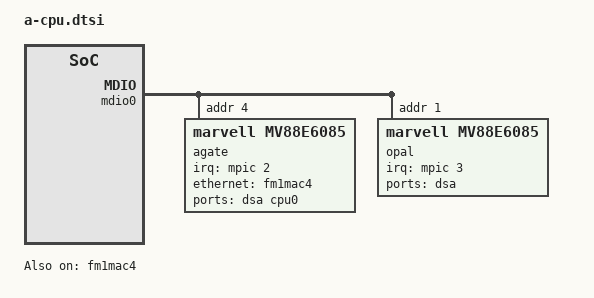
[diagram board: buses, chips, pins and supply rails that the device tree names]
#include <common/mv6.h>

#include "base.dtsi"

&fm1mac4 {
	status = "okay";
};

&mdio0 {
	agate: switch@4 {
		compatible = "marvell,mv88e6085";
		reg = <0x4>;

		dsa,member = <0 0>;
		dsa,num_tx_queues = <8>;

		interrupts = <2 1 0 0>;
		interrupt-parent = <&mpic>;
		interrupt-controller;
		#interrupt-cells = <2>;

		ports {
			#address-cells = <0x1>;
			#size-cells = <0x0>;

			dsa0d: port@5 {
				reg = <0x5>;
				label = "dsa";
				link = <&dsa1u>;
				phy-mode = "rgmii-id";

				fixed-link {
					speed = <1000>;
					full-duplex;
				};
			};

			port@6 {
				reg = <0x6>;
				label = "cpu0";
				ethernet = <&fm1mac4>;
				phy-mode = "rgmii-id";

				fixed-link {
					speed = <1000>;
					full-duplex;
				};
			};

			mv6_port(0, "ethX2" , &aphy0, "gmii");
			mv6_port(1, "ethX12", &aphy1, "gmii");
			mv6_port(2, "ethX8" , &aphy2, "gmii");
			mv6_port(3, "ethX4" , &aphy3, "gmii");
			mv6_port(4, "ethX3" , &aphy4, "gmii");
		};

		mdio {
			#address-cells = <0x1>;
			#size-cells = <0x0>;
			interrupt-parent = <&agate>;

			aphy0: mv6_phy(0);
			aphy1: mv6_phy(1);
			aphy2: mv6_phy(2);
			aphy3: mv6_phy(3);
			aphy4: mv6_phy(4);
		};
	};

	opal: switch@1 {
		compatible = "marvell,mv88e6085";
		reg = <0x1>;

		dsa,member = <0 1>;
		dsa,num_tx_queues = <4>;

		interrupts = <3 1 0 0>;
		interrupt-parent = <&mpic>;
		interrupt-controller;
		#interrupt-cells = <2>;

		ports {
			#address-cells = <1>;
			#size-cells = <0>;

			dsa1u: port@a {
				reg = <0xa>;
				label = "dsa";
				link = <&dsa0d>;
				phy-mode = "rgmii";

				fixed-link {
					speed = <1000>;
					full-duplex;
				};
			};

			mv6_port(0, "ethX1" , &ophy0, "mii");
			mv6_port(1, "ethX5" , &ophy1, "mii");
			mv6_port(2, "ethX6" , &ophy2, "mii");
			mv6_port(3, "ethX7" , &ophy3, "mii");
			mv6_port(4, "ethX9" , &ophy4, "mii");
			mv6_port(5, "ethX10", &ophy5, "mii");
			mv6_port(6, "ethX11", &ophy6, "mii");
		};

		mdio {
			#address-cells = <1>;
			#size-cells = <0>;
			interrupt-parent = <&opal>;

			ophy0: mv6_phy(0);
			ophy1: mv6_phy(1);
			ophy2: mv6_phy(2);
			ophy3: mv6_phy(3);
			ophy4: mv6_phy(4);
			ophy5: mv6_phy(5);
			ophy6: mv6_phy(6);
		};
	};
};

&watchdog {
	gpios = <&gpio0 16 0>;
};
